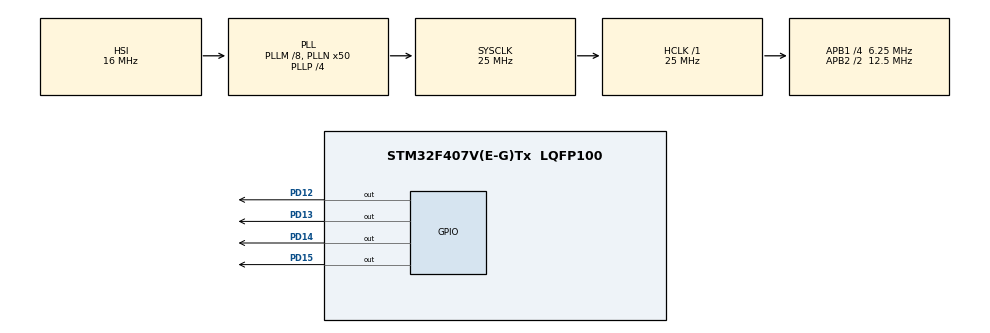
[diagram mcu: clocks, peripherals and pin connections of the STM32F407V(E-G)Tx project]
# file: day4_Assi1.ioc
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FREERTOS.INCLUDE_vTaskDelayUntil=1
FREERTOS.Tasks01=defaultTask,-3,128,StartDefaultTask,Default,NULL,Dynamic,NULL,NULL;myTask02,-3,128,StartTask02,Default,NULL,Dynamic,NULL,NULL
FREERTOS.configUSE_NEWLIB_REENTRANT=1
Mcu.Family=STM32F4
Mcu.Name=STM32F407V(E-G)Tx
Mcu.Package=LQFP100
NVIC.PriorityGroup=NVIC_PRIORITYGROUP_4
NVIC.TIM1_UP_TIM10_IRQn=true\:0\:0\:false\:false\:true\:false\:false\:true\:true
NVIC.TimeBase=TIM1_UP_TIM10_IRQn
NVIC.TimeBaseIP=TIM1
PD12.Signal=GPIO_Output
PD13.Signal=GPIO_Output
PD14.Signal=GPIO_Output
PD15.Signal=GPIO_Output
ProjectManager.HeapSize=0x200
ProjectManager.StackSize=0x400
ProjectManager.TargetToolchain=STM32CubeIDE
RCC.48MHZClocksFreq_Value=14285714.285714285
RCC.AHBFreq_Value=25000000
RCC.APB1CLKDivider=RCC_HCLK_DIV4
RCC.APB1Freq_Value=6250000
RCC.APB1TimFreq_Value=12500000
RCC.APB2CLKDivider=RCC_HCLK_DIV2
RCC.APB2Freq_Value=12500000
RCC.APB2TimFreq_Value=25000000
RCC.CortexFreq_Value=25000000
RCC.HCLKFreq_Value=25000000
RCC.HSE_VALUE=8000000
RCC.HSI_VALUE=16000000
RCC.LSE_VALUE=32768
RCC.PLLM=8
RCC.PLLN=50
RCC.PLLP=RCC_PLLP_DIV4
RCC.PLLQ=7
RCC.SYSCLKFreq_VALUE=25000000
RCC.SYSCLKSource=RCC_SYSCLKSOURCE_PLLCLK
RCC.VCOOutputFreq_Value=100000000
VP_FREERTOS_VS_CMSIS_V1.Mode=CMSIS_V1
VP_SYS_VS_tim1.Mode=TIM1
board=STM32F407G-DISC1

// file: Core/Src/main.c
/* USER CODE BEGIN Header */
/**
  ******************************************************************************
  * @file           : main.c
  * @brief          : Main program body
  ******************************************************************************
  * @attention
  *
  * Copyright (c) 2024 STMicroelectronics.
  * All rights reserved.
  *
  * This software is licensed under terms that can be found in the LICENSE file
  * in the root directory of this software component.
  * If no LICENSE file comes with this software, it is provided AS-IS.
  *
  ******************************************************************************
  */
/* USER CODE END Header */
#include "main.h"
#include "cmsis_os.h"

osThreadId defaultTaskHandle;
osThreadId myTask02Handle;

void SystemClock_Config(void);
static void MX_GPIO_Init(void);
void StartDefaultTask(void const * argument);
void StartTask02(void const * argument);

/* USER CODE BEGIN 0 */
void vLedTask1(void *pvParam)
{
         uint32_t pin =(uint32_t)pvParam;
         while(1)
         {
        	 HAL_GPIO_TogglePin(GPIOD,pin);
        	 vTaskDelay(3000 / portTICK_RATE_MS);

         }
	vTaskDelete(NULL);
}

void vLedTask2(void *pvParam)
{
         uint32_t pin = (uint32_t)pvParam;
         portTickType xLastWakeupTime = xTaskGetTickCount();
         while(1)
         {
        	 HAL_GPIO_TogglePin(GPIOD, pin);
        	 vTaskDelayUntil(&xLastWakeupTime, 2000 / portTICK_RATE_MS);

         }
      vTaskDelete(NULL);

}
void vLedTask3(void *pvParam)
{
         uint32_t pin = (uint32_t)pvParam;
         portTickType xLastWakeupTime = xTaskGetTickCount();
         while(1)
         {
        	 HAL_GPIO_TogglePin(GPIOD, pin);
        	 vTaskDelayUntil(&xLastWakeupTime, 1000 / portTICK_RATE_MS);

         }
      vTaskDelete(NULL);

}
void vLedTask4(void *pvParam)
{
         uint32_t pin = (uint32_t)pvParam;
         portTickType xLastWakeupTime = xTaskGetTickCount();
         while(1)
         {
        	 HAL_GPIO_TogglePin(GPIOD, pin);
        	 vTaskDelayUntil(&xLastWakeupTime, 500 / portTICK_RATE_MS);

         }
      vTaskDelete(NULL);

}
/* USER CODE END 0 */

int main(void)
{

  /* USER CODE BEGIN 1 */
    BaseType_t xRet;

  /* USER CODE END 1 */

  /* MCU Configuration--------------------------------------------------------*/

  /* Reset of all peripherals, Initializes the Flash interface and the Systick. */
  HAL_Init();

  /* Configure the system clock */
  SystemClock_Config();

  /* Initialize all configured peripherals */
  MX_GPIO_Init();

  /* Create the thread(s) */
  /* definition and creation of defaultTask */
  osThreadDef(defaultTask, StartDefaultTask, osPriorityIdle, 0, 128);
  defaultTaskHandle = osThreadCreate(osThread(defaultTask), NULL);

  /* definition and creation of myTask02 */
  osThreadDef(myTask02, StartTask02, osPriorityIdle, 0, 128);
  myTask02Handle = osThreadCreate(osThread(myTask02), NULL);

  /* USER CODE BEGIN RTOS_THREADS */
  /* add threads, ... */
  xRet = xTaskCreate(vLedTask1, "Task1", configMINIMAL_STACK_SIZE,(void*)GPIO_PIN_12, 4,NULL);
    if(xRet != pdTRUE)
  	  Error_Handler();

  xRet = xTaskCreate(vLedTask2, "Task2", configMINIMAL_STACK_SIZE,(void*)GPIO_PIN_13, 1,NULL);
      if(xRet != pdTRUE)
    	  Error_Handler();

  xRet = xTaskCreate(vLedTask3, "Task3", configMINIMAL_STACK_SIZE,(void*)GPIO_PIN_14, 5,NULL);
        if(xRet != pdTRUE)
      	  Error_Handler();

  xRet = xTaskCreate(vLedTask4, "Task4", configMINIMAL_STACK_SIZE,(void*)GPIO_PIN_15, 2,NULL);
          if(xRet != pdTRUE)
        	  Error_Handler();

  /* USER CODE END RTOS_THREADS */

  /* Start scheduler */
  osKernelStart();

  /* We should never get here as control is now taken by the scheduler */

  /* Infinite loop */
  while (1)
  {

  }
}

void SystemClock_Config(void)
{
  RCC_OscInitTypeDef RCC_OscInitStruct = {0};
  RCC_ClkInitTypeDef RCC_ClkInitStruct = {0};

  /** Configure the main internal regulator output voltage
  */
  __HAL_RCC_PWR_CLK_ENABLE();
  __HAL_PWR_VOLTAGESCALING_CONFIG(PWR_REGULATOR_VOLTAGE_SCALE1);

  /** Initializes the RCC Oscillators according to the specified parameters
  * in the RCC_OscInitTypeDef structure.
  */
  RCC_OscInitStruct.OscillatorType = RCC_OSCILLATORTYPE_HSI;
  RCC_OscInitStruct.HSIState = RCC_HSI_ON;
  RCC_OscInitStruct.HSICalibrationValue = RCC_HSICALIBRATION_DEFAULT;
  RCC_OscInitStruct.PLL.PLLState = RCC_PLL_ON;
  RCC_OscInitStruct.PLL.PLLSource = RCC_PLLSOURCE_HSI;
  RCC_OscInitStruct.PLL.PLLM = 8;
  RCC_OscInitStruct.PLL.PLLN = 50;
  RCC_OscInitStruct.PLL.PLLP = RCC_PLLP_DIV4;
  RCC_OscInitStruct.PLL.PLLQ = 7;
  if (HAL_RCC_OscConfig(&RCC_OscInitStruct) != HAL_OK)
  {
    Error_Handler();
  }

  /** Initializes the CPU, AHB and APB buses clocks
  */
  RCC_ClkInitStruct.ClockType = RCC_CLOCKTYPE_HCLK|RCC_CLOCKTYPE_SYSCLK
                              |RCC_CLOCKTYPE_PCLK1|RCC_CLOCKTYPE_PCLK2;
  RCC_ClkInitStruct.SYSCLKSource = RCC_SYSCLKSOURCE_PLLCLK;
  RCC_ClkInitStruct.AHBCLKDivider = RCC_SYSCLK_DIV1;
  RCC_ClkInitStruct.APB1CLKDivider = RCC_HCLK_DIV4;
  RCC_ClkInitStruct.APB2CLKDivider = RCC_HCLK_DIV2;

  if (HAL_RCC_ClockConfig(&RCC_ClkInitStruct, FLASH_LATENCY_0) != HAL_OK)
  {
    Error_Handler();
  }
}

static void MX_GPIO_Init(void)
{
  GPIO_InitTypeDef GPIO_InitStruct = {0};

  /* GPIO Ports Clock Enable */
  __HAL_RCC_GPIOD_CLK_ENABLE();

  /*Configure GPIO pin Output Level */
  HAL_GPIO_WritePin(GPIOD, GPIO_PIN_12|GPIO_PIN_13|GPIO_PIN_14|GPIO_PIN_15, GPIO_PIN_RESET);

  /*Configure GPIO pins : PD12 PD13 PD14 PD15 */
  GPIO_InitStruct.Pin = GPIO_PIN_12|GPIO_PIN_13|GPIO_PIN_14|GPIO_PIN_15;
  GPIO_InitStruct.Mode = GPIO_MODE_OUTPUT_PP;
  GPIO_InitStruct.Pull = GPIO_NOPULL;
  GPIO_InitStruct.Speed = GPIO_SPEED_FREQ_LOW;
  HAL_GPIO_Init(GPIOD, &GPIO_InitStruct);

}

void StartDefaultTask(void const * argument)
{
  for(;;)
  {
    osDelay(1);
  }
}

void StartTask02(void const * argument)
{
  for(;;)
  {
    osDelay(1);
  }
}

void HAL_TIM_PeriodElapsedCallback(TIM_HandleTypeDef *htim)
{
  if (htim->Instance == TIM1) {
    HAL_IncTick();
  }
}

void Error_Handler(void)
{
  __disable_irq();
  while (1)
  {
  }
}
